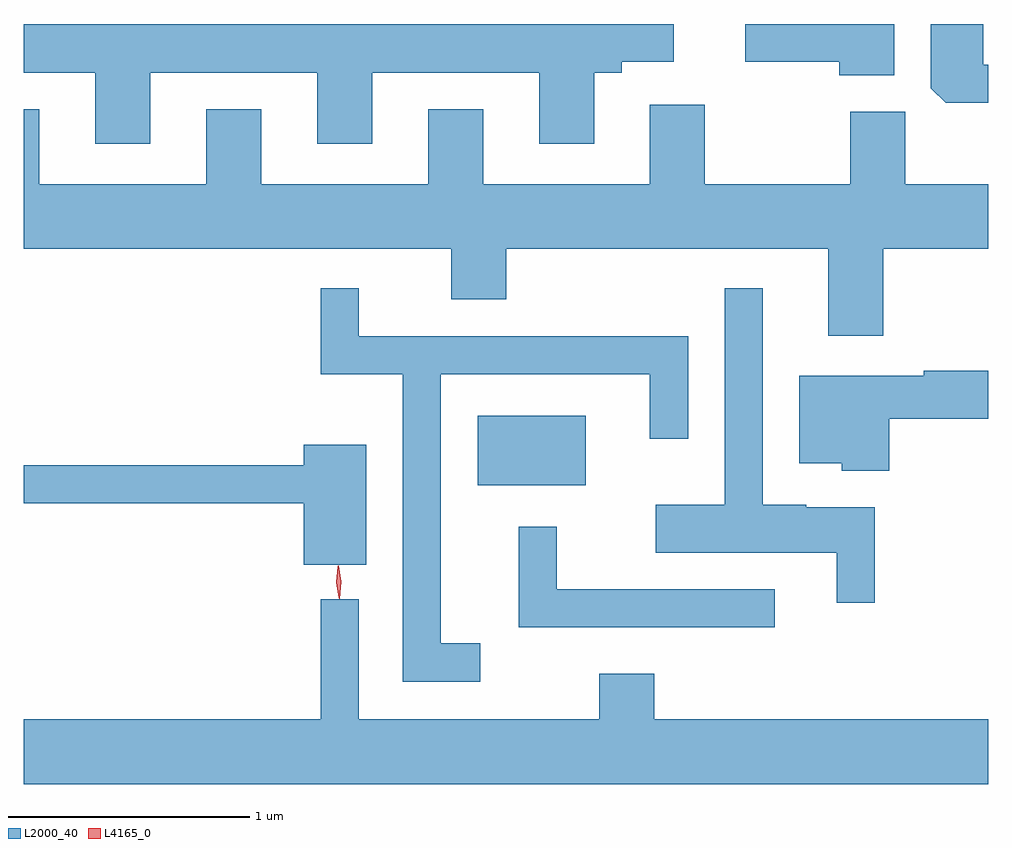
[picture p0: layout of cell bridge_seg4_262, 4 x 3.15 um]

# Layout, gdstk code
import gdstk
lib = gdstk.Library(unit=1e-6, precision=1e-09)
def R(c, l, rs):  # rectangles x0, y0, x1, y1
    for r in rs: c.add(gdstk.rectangle(r[:2], r[2:], *l))
def P(c, l, *ps):  # polygons
    for p in ps: c.add(gdstk.Polygon(p, *l))
L2000_40 = (2000, 40)
L4165_0 = (4165, 0)

bridge_seg4_262 = lib.new_cell('bridge_seg4_262')
R(bridge_seg4_262, L2000_40, [(678.136,1333.716,678.584,1334.004)])
P(bridge_seg4_262, L2000_40, [(679.864,1335.628),(679.246,1335.628),(679.246,1335.471),(679.636,1335.471),(679.636,1335.416),(679.864,1335.416)],
  [(680.254,1335.459),(680.234,1335.459),(680.234,1335.628),(680.016,1335.628),(680.016,1335.362),(680.077,1335.301),(680.254,1335.301)],
  [(676.779,1335.426),(677.471,1335.426),(677.471,1335.131),(677.699,1335.131),(677.699,1335.426),(678.391,1335.426),(678.391,1335.131),(678.619,1335.131),(678.619,1335.426),(678.734,1335.426),(678.734,1335.471),(678.949,1335.471),(678.949,1335.628),(676.254,1335.628),(676.254,1335.426),(676.551,1335.426),(676.551,1335.131),(676.779,1335.131)],
  [(679.819,1334.696),(680.254,1334.696),(680.254,1334.964),(679.909,1334.964),(679.909,1335.264),(679.681,1335.264),(679.681,1334.964),(679.079,1334.964),(679.079,1335.294),(678.851,1335.294),(678.851,1334.964),(678.159,1334.964),(678.159,1335.274),(677.931,1335.274),(677.931,1334.964),(677.239,1334.964),(677.239,1335.274),(677.011,1335.274),(677.011,1334.964),(676.319,1334.964),(676.319,1335.274),(676.254,1335.274),(676.254,1334.696),(678.026,1334.696),(678.026,1334.486),(678.254,1334.486),(678.254,1334.696),(679.591,1334.696),(679.591,1334.336),(679.819,1334.336)],
  [(679.784,1333.624),(679.5,1333.624),(679.5,1333.634),(679.319,1333.634),(679.319,1334.533),(679.161,1334.533),(679.161,1333.634),(678.876,1333.634),(678.876,1333.436),(679.626,1333.436),(679.626,1333.228),(679.784,1333.228)],
  [(678.148,1333.059),(677.984,1333.059),(677.984,1334.176),(678.851,1334.176),(678.851,1333.908),(679.009,1333.908),(679.009,1334.334),(677.644,1334.334),(677.644,1334.533),(677.486,1334.533),(677.486,1334.176),(677.826,1334.176),(677.826,1332.901),(678.148,1332.901)],
  [(679.844,1333.991),(680.254,1333.991),(680.254,1334.189),(679.986,1334.189),(679.986,1334.169),(679.471,1334.169),(679.471,1333.806),(679.646,1333.806),(679.646,1333.776),(679.844,1333.776)],
  [(677.674,1333.884),(677.416,1333.884),(677.416,1333.799),(676.254,1333.799),(676.254,1333.641),(677.416,1333.641),(677.416,1333.386),(677.674,1333.386)],
  [(679.368,1333.284),(678.464,1333.284),(678.464,1333.543),(678.306,1333.543),(678.306,1333.126),(679.368,1333.126)],
  [(680.254,1332.744),(678.869,1332.744),(678.869,1332.934),(678.641,1332.934),(678.641,1332.744),(677.644,1332.744),(677.644,1333.243),(677.486,1333.243),(677.486,1332.744),(676.254,1332.744),(676.254,1332.476),(680.254,1332.476)])
P(bridge_seg4_262, L4165_0, [(677.561,1333.248),(677.561,1333.248),(677.549,1333.313),(677.556,1333.379),(677.557,1333.379),(677.557,1333.379),(677.569,1333.314),(677.562,1333.248)],
  [(677.563,1333.245),(677.552,1333.313),(677.559,1333.382),(677.56,1333.382),(677.56,1333.382),(677.571,1333.314),(677.564,1333.245),(677.564,1333.245)])

lib.write_gds('bridge_seg4_262.gds')
